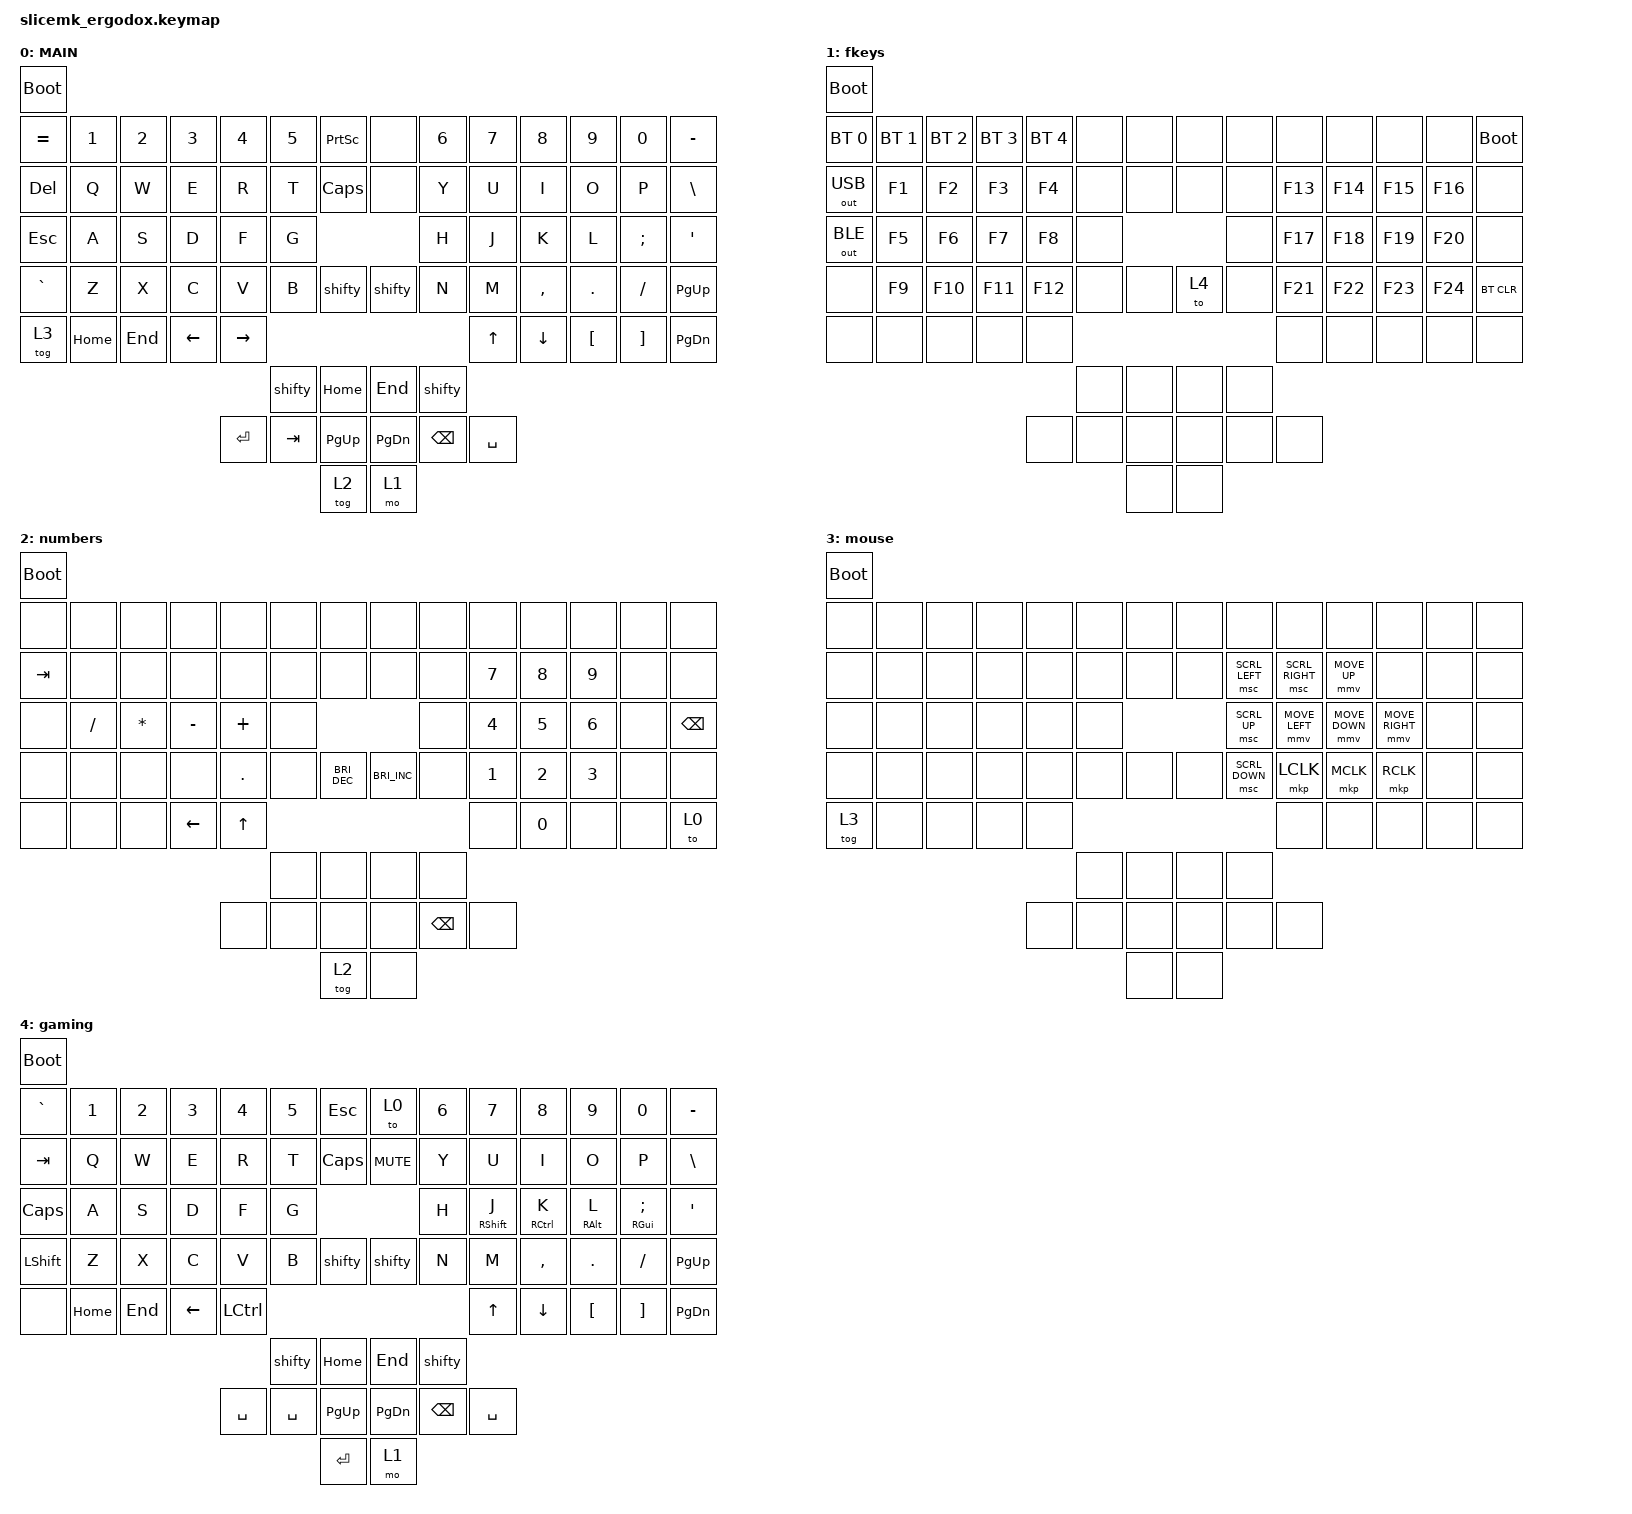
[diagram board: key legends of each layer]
#include <dt-bindings/zmk/mouse.h>
#include <behaviors.dtsi>
#include <dt-bindings/zmk/bt.h>
#include <dt-bindings/zmk/keys.h>
#include <dt-bindings/zmk/outputs.h>

#define LAYER_MAIN 0
#define LAYER_FN 1
#define LAYER_SYMB 2
#define LAYER_NMPAD 3
#define LAYER_MOUSE 4
#define SHORT_COMBO_TIMEOUT 18
#define COMBO_TIMEOUT_LEFT 18
#define PRIOR_IDLE_COMBO 150
#define HOME_ROW_MOD_IDLE 150
#define MOD_FLAVOR "balanced"
#define MOD_TAP_TERM 280
#define MOD_QUICK_TAP 200

&sk { quick-release; };

/ {
    behaviors {
        hml: hml {
            compatible = "zmk,behavior-hold-tap";
            label = "HML";
            bindings = <&kp>, <&kp>;

            #binding-cells = <2>;
            tapping-term-ms = <MOD_TAP_TERM>;
            hold-trigger-on-release;
            quick-tap-ms = <MOD_QUICK_TAP>;
            require-prior-idle-ms = <HOME_ROW_MOD_IDLE>;
            flavor =
            MOD_FLAVOR;
            hold-trigger-key-positions = <65 66 71 75 70 69 72 76 67 68 73 74 48 22 8 9 35 49 23 10 24 50 36 60 61 51 37 25 11 12 26 38 52 62 63 53 39 27 13 14 28 40 54 64>;
        };

        hmr: hmr {
            compatible = "zmk,behavior-hold-tap";
            label = "HMR";
            bindings = <&kp>, <&kp>;

            #binding-cells = <2>;
            tapping-term-ms = <MOD_TAP_TERM>;
            hold-trigger-on-release;
            quick-tap-ms = <MOD_QUICK_TAP>;
            require-prior-idle-ms = <HOME_ROW_MOD_IDLE>;
            flavor =
            MOD_FLAVOR;
            hold-trigger-key-positions = <66 68 73 74 76 72 67 71 75 70 69 65 47 21 7 6 46 34 20 19 33 45 59 5 4 18 32 44 58 57 43 31 17 3 2 16 42 30 56 55 41 29 15 1>;
        };

        sticky_shift: sticky_shift {
            compatible = "zmk,behavior-sticky-key";
            label = "STICKY_SHIFT";
            bindings = <&sk>;
            #binding-cells = <1>;
            release-after-ms = <300>;
            quick-release;
        };

        shifty: shifty {
            compatible = "zmk,behavior-mod-morph";
            label = "SHIFTY";
            bindings = <&sticky_shift LEFT_SHIFT>, <&caps_word>;

            #binding-cells = <0>;
            mods = <(MOD_LSFT)>;
        };
    };

    combos {
        compatible = "zmk,combos";
        require-prior-idle-ms = <PRIOR_IDLE_COMBO>;

        left_parent {
            bindings = <&hmr RS(RIGHT_CONTROL) LEFT_PARENTHESIS>;
            key-positions = <36 37>;
            timeout-ms = <SHORT_COMBO_TIMEOUT>;
            require-prior-idle-ms = <PRIOR_IDLE_COMBO>;
            layers = <0>;
        };

        right_paren {
            bindings = <&hmr RC(RIGHT_ALT) RIGHT_PARENTHESIS>;
            key-positions = <37 38>;
            timeout-ms = <SHORT_COMBO_TIMEOUT>;
            require-prior-idle-ms = <PRIOR_IDLE_COMBO>;
            layers = <0>;
        };

        left_bracket {
            bindings = <&kp LEFT_BRACKET>;
            key-positions = <24 25>;
            timeout-ms = <SHORT_COMBO_TIMEOUT>;
            require-prior-idle-ms = <PRIOR_IDLE_COMBO>;
            layers = <0>;
        };

        right_bracket {
            bindings = <&kp RIGHT_BRACKET>;
            key-positions = <25 26>;
            timeout-ms = <SHORT_COMBO_TIMEOUT>;
            require-prior-idle-ms = <PRIOR_IDLE_COMBO>;
            layers = <0>;
        };

        left_brace {
            bindings = <&kp LEFT_BRACE>;
            key-positions = <50 51>;
            timeout-ms = <SHORT_COMBO_TIMEOUT>;
            require-prior-idle-ms = <PRIOR_IDLE_COMBO>;
            layers = <0>;
        };

        right_brace {
            bindings = <&kp RIGHT_BRACE>;
            key-positions = <51 52>;
            timeout-ms = <SHORT_COMBO_TIMEOUT>;
            require-prior-idle-ms = <PRIOR_IDLE_COMBO>;
            layers = <0>;
        };

        underscore {
            bindings = <&hmr LC(LEFT_ALT) UNDERSCORE>;
            key-positions = <32 31>;
            timeout-ms = <COMBO_TIMEOUT_LEFT>;
            require-prior-idle-ms = <PRIOR_IDLE_COMBO>;
            layers = <0>;
        };

        dash {
            bindings = <&hmr LS(LEFT_CONTROL) MINUS>;
            key-positions = <33 32>;
            timeout-ms = <COMBO_TIMEOUT_LEFT>;
            require-prior-idle-ms = <PRIOR_IDLE_COMBO>;
            layers = <0>;
        };

        plus {
            bindings = <&kp PLUS>;
            key-positions = <19 18>;
            timeout-ms = <COMBO_TIMEOUT_LEFT>;
            require-prior-idle-ms = <PRIOR_IDLE_COMBO>;
            layers = <0>;
        };

        equals {
            bindings = <&kp EQUAL>;
            key-positions = <18 17>;
            timeout-ms = <COMBO_TIMEOUT_LEFT>;
            require-prior-idle-ms = <PRIOR_IDLE_COMBO>;
            layers = <0>;
        };

        bang {
            bindings = <&kp EXCLAMATION>;
            key-positions = <16 17>;
            timeout-ms = <COMBO_TIMEOUT_LEFT>;
            require-prior-idle-ms = <150>;
            layers = <0>;
        };

        at {
            bindings = <&kp AT_SIGN>;
            key-positions = <42 43>;
            timeout-ms = <COMBO_TIMEOUT_LEFT>;
            require-prior-idle-ms = <PRIOR_IDLE_COMBO>;
            layers = <0>;
        };

        // star {
        //   bindings = <&kp ASTERISK>;
        // key-positions = <31 32>;
        //timeout-ms = <SHORT_COMBO_TIMEOUT>;
        //require-prior-idle-ms = <PRIOR_IDLE_COMBO>;
        //layers = <0>;
        //};

        ampersand {
            bindings = <&kp AMPERSAND>;
            key-positions = <53 52>;
            timeout-ms = <SHORT_COMBO_TIMEOUT>;
            require-prior-idle-ms = <PRIOR_IDLE_COMBO>;
            layers = <0>;
        };

        percent {
            bindings = <&kp PERCENT>;
            key-positions = <20 19>;
            timeout-ms = <COMBO_TIMEOUT_LEFT>;
            require-prior-idle-ms = <PRIOR_IDLE_COMBO>;
            layers = <0>;
        };

        lessthan {
            bindings = <&kp LESS_THAN>;
            key-positions = <46 45>;
            timeout-ms = <COMBO_TIMEOUT_LEFT>;
            require-prior-idle-ms = <PRIOR_IDLE_COMBO>;
            layers = <0>;
        };

        greaterthan {
            bindings = <&kp GREATER_THAN>;
            key-positions = <49 50>;
            timeout-ms = <SHORT_COMBO_TIMEOUT>;
            require-prior-idle-ms = <PRIOR_IDLE_COMBO>;
            layers = <0>;
        };

        qmark {
            bindings = <&kp QUESTION>;
            key-positions = <38 39>;
            timeout-ms = <SHORT_COMBO_TIMEOUT>;
            require-prior-idle-ms = <PRIOR_IDLE_COMBO>;
            layers = <0>;
        };

        car {
            bindings = <&hmr LS(LEFT_ALT) CARET>;
            key-positions = <33 31>;
            timeout-ms = <COMBO_TIMEOUT_LEFT>;
            require-prior-idle-ms = <PRIOR_IDLE_COMBO>;
            layers = <0>;
        };

        dollar {
            bindings = <&hmr RS(RIGHT_ALT) DOLLAR>;
            key-positions = <36 38>;
            timeout-ms = <SHORT_COMBO_TIMEOUT>;
            require-prior-idle-ms = <PRIOR_IDLE_COMBO>;
            layers = <0>;
        };
    };

    keymap {
        compatible = "zmk,keymap";

        MAIN {
            bindings = <
&bootloader
&kp EQUAL    &kp NUMBER_1  &kp NUMBER_2  &kp NUMBER_3    &kp NUMBER_4  &kp NUMBER_5  &kp PRINTSCREEN    &none          &kp NUMBER_6   &kp NUMBER_7  &kp NUMBER_8  &kp NUMBER_9      &kp NUMBER_0       &kp MINUS
&kp DELETE   &kp Q         &kp W         &kp E           &kp R         &kp T         &kp CAPSLOCK       &none          &kp Y          &kp U         &kp I         &kp O             &kp P              &kp BACKSLASH
&kp ESCAPE   &kp A         &kp S         &kp D           &kp F         &kp G                                           &kp H          &kp J         &kp K         &kp L             &kp SEMICOLON      &kp SQT
&kp GRAVE    &kp Z         &kp X         &kp C           &kp V         &kp B         &shifty            &shifty        &kp N          &kp M         &kp COMMA     &kp PERIOD        &kp SLASH          &kp PAGE_UP
&tog 3       &kp HOME      &kp END       &kp LEFT_ARROW  &kp RIGHT                                                                    &kp UP_ARROW  &kp DOWN      &kp LEFT_BRACKET  &kp RIGHT_BRACKET  &kp PAGE_DOWN
                                                                       &shifty       &kp HOME           &kp END        &shifty
                                                         &kp ENTER     &kp TAB       &kp PAGE_UP        &kp PAGE_DOWN  &kp BACKSPACE  &kp SPACE
                                                                                     &tog 2             &mo 1
            >;
        };

        fkeys {
            bindings = <
&bootloader
&bt BT_SEL 0  &bt BT_SEL 1  &bt BT_SEL 2  &bt BT_SEL 3  &bt BT_SEL 4  &none  &none    &none  &none  &none    &none    &none    &none    &bootloader
&out OUT_USB  &kp F1        &kp F2        &kp F3        &kp F4        &none  &none    &none  &none  &kp F13  &kp F14  &kp F15  &kp F16  &none
&out OUT_BLE  &kp F5        &kp F6        &kp F7        &kp F8        &none                  &none  &kp F17  &kp F18  &kp F19  &kp F20  &none
&none         &kp F9        &kp F10       &kp F11       &kp F12       &none  &none    &to 4  &none  &kp F21  &kp F22  &kp F23  &kp F24  &bt BT_CLR
&none         &none         &none         &none         &none                                       &none    &none    &none    &none    &none
                                                                      &none  &none    &none  &none
                                                        &none         &none  &none    &none  &none  &none
                                                                             &none    &none
            >;
        };

        numbers {
            bindings = <
&bootloader
&none        &none      &none         &none           &none         &none  &none                   &none                 &none          &none         &none         &none         &none  &none
&kp TAB      &none      &none         &none           &none         &none  &none                   &none                 &none          &kp NUMBER_7  &kp NUMBER_8  &kp NUMBER_9  &none  &none
&none        &kp SLASH  &kp ASTERISK  &kp MINUS       &kp PLUS      &none                                                &none          &kp NUMBER_4  &kp NUMBER_5  &kp NUMBER_6  &none  &kp BACKSPACE
&none        &none      &none         &none           &kp PERIOD    &none  &kp C_BRIGHTNESS_DEC    &kp C_BRIGHTNESS_INC  &none          &kp NUMBER_1  &kp NUMBER_2  &kp NUMBER_3  &none  &none
&none        &none      &none         &kp LEFT_ARROW  &kp UP_ARROW                                                                      &none         &kp N0        &none         &none  &to 0
                                                                    &none  &none                   &none                 &none
                                                      &none         &none  &none                   &none                 &kp BACKSPACE  &none
                                                                           &tog 2                  &none
            >;
        };

        mouse {
            bindings = <
&bootloader
&none        &none  &none  &none  &none  &none  &none    &none  &none           &none            &none           &none            &none  &none
&none        &none  &none  &none  &none  &none  &none    &none  &msc SCRL_LEFT  &msc SCRL_RIGHT  &mmv MOVE_UP    &none            &none  &none
&none        &none  &none  &none  &none  &none                  &msc SCRL_UP    &mmv MOVE_LEFT   &mmv MOVE_DOWN  &mmv MOVE_RIGHT  &none  &none
&none        &none  &none  &none  &none  &none  &none    &none  &msc SCRL_DOWN  &mkp LCLK        &mkp MCLK       &mkp RCLK        &none  &none
&tog 3       &none  &none  &none  &none                                         &none            &none           &none            &none  &none
                                         &none  &none    &none  &none
                                  &none  &none  &none    &none  &none           &none
                                                &none    &none
            >;
        };

        gaming {
            bindings = <
&bootloader
&kp GRAVE       &kp NUMBER_1  &kp NUMBER_2  &kp NUMBER_3    &kp NUMBER_4      &kp NUMBER_5  &kp ESCAPE      &to 0          &kp NUMBER_6   &kp NUMBER_7        &kp NUMBER_8          &kp NUMBER_9      &kp NUMBER_0              &kp MINUS
&kp TAB         &kp Q         &kp W         &kp E           &kp R             &kp T         &kp CAPSLOCK    &kp C_MUTE     &kp Y          &kp U               &kp I                 &kp O             &kp P                     &kp BACKSLASH
&kp CAPS        &kp A         &kp S         &kp D           &kp F             &kp G                                        &kp H          &hmr RIGHT_SHIFT J  &hmr RIGHT_CONTROL K  &hmr RIGHT_ALT L  &hmr RIGHT_GUI SEMICOLON  &kp SQT
&kp LEFT_SHIFT  &kp Z         &kp X         &kp C           &kp V             &kp B         &shifty         &shifty        &kp N          &kp M               &kp COMMA             &kp PERIOD        &kp SLASH                 &kp PAGE_UP
&none           &kp HOME      &kp END       &kp LEFT_ARROW  &kp LEFT_CONTROL                                                              &kp UP_ARROW        &kp DOWN              &kp LEFT_BRACKET  &kp RIGHT_BRACKET         &kp PAGE_DOWN
                                                                              &shifty       &kp HOME        &kp END        &shifty
                                                            &kp SPACE         &kp SPACE     &kp PAGE_UP     &kp PAGE_DOWN  &kp BACKSPACE  &kp SPACE
                                                                                            &kp RETURN      &mo 1
            >;
        };
    };
};
